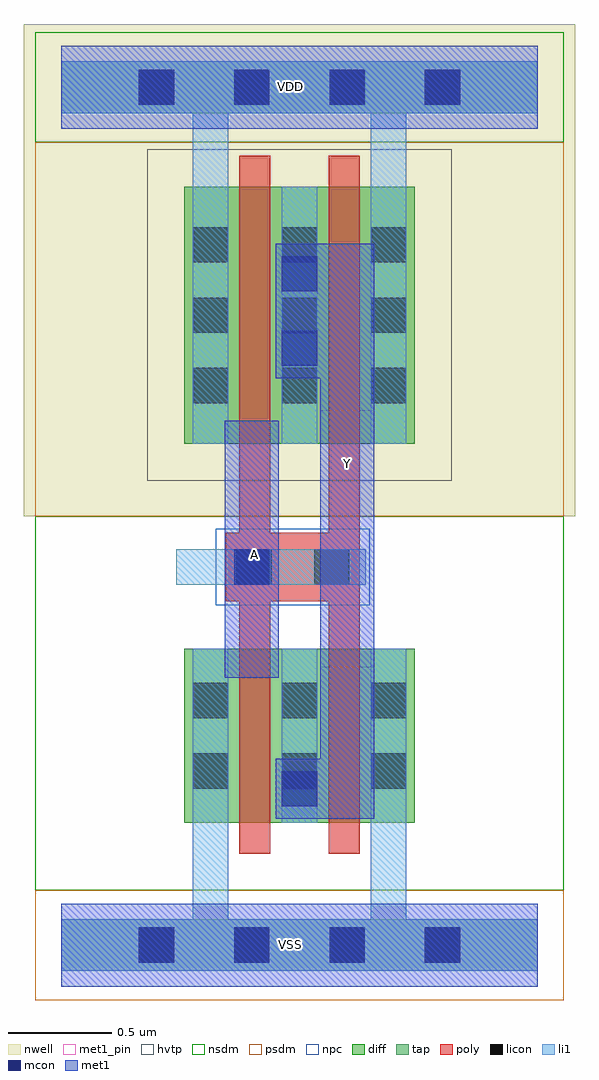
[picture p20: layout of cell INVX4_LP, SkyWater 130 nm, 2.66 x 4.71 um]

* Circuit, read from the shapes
.subckt INVX4_LP A VDD VSS Y
XM1 Y A VSS VSS sky130_fd_pr__nfet_01v8 w=0.84 l=0.15 m=2
XM2 Y A VDD VDD sky130_fd_pr__pfet_01v8_hvt w=1.24 l=0.15 m=2
.ends

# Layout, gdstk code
import gdstk
lib = gdstk.Library(unit=1e-6, precision=1e-09)
def R(c, l, rs):  # rectangles x0, y0, x1, y1
    for r in rs: c.add(gdstk.rectangle(r[:2], r[2:], *l))
def A(c, l, x, y, w, h, nx, ny, dx, dy):  # array of equal rectangles
    R(c, l, [(x+i*dx, y+j*dy, x+i*dx+w, y+j*dy+h) for i in range(nx) for j in range(ny)])
def P(c, l, *ps):  # polygons
    for p in ps: c.add(gdstk.Polygon(p, *l))
nwell = (64, 20)
diff = (65, 20)
tap = (65, 44)
poly = (66, 20)
licon = (66, 44)
li1 = (67, 20)
mcon = (67, 44)
met1_pin = (68, 16)
met1 = (68, 20)
hvtp = (78, 44)
nsdm = (93, 44)
psdm = (94, 20)
npc = (95, 20)

pyl1con_c_cdns_752016907 = lib.new_cell('PYL1CON_C_CDNS_752016907000')
R(pyl1con_c_cdns_752016907, poly, [(-0.135,-0.165,0.135,0.165)])
R(pyl1con_c_cdns_752016907, licon, [(-0.085,-0.085,0.085,0.085)])
R(pyl1con_c_cdns_752016907, npc, [(-0.185,-0.185,0.185,0.185)])

l1m1_c_cdns_752016907001 = lib.new_cell('L1M1_C_CDNS_752016907001')
R(l1m1_c_cdns_752016907001, li1, [(-0.085,-0.165,0.085,0.165)])
R(l1m1_c_cdns_752016907001, mcon, [(-0.085,-0.085,0.085,0.085)])
R(l1m1_c_cdns_752016907001, met1, [(-0.115,-0.145,0.115,0.145)])

l1m1_c_cdns_752016907002 = lib.new_cell('L1M1_C_CDNS_752016907002')
R(l1m1_c_cdns_752016907002, li1, [(-0.085,-0.345,0.085,0.345)])
R(l1m1_c_cdns_752016907002, mcon, [(-0.085,-0.265,0.085,-0.095), (-0.085,0.095,0.085,0.265)])
R(l1m1_c_cdns_752016907002, met1, [(-0.115,-0.325,0.115,0.325)])

l1m1_c_cdns_752016907003 = lib.new_cell('L1M1_C_CDNS_752016907003')
R(l1m1_c_cdns_752016907003, li1, [(-0.165,-0.085,0.165,0.085)])
R(l1m1_c_cdns_752016907003, mcon, [(-0.085,-0.085,0.085,0.085)])
R(l1m1_c_cdns_752016907003, met1, [(-0.115,-0.145,0.115,0.145)])

invx4_lp = lib.new_cell('INVX4_LP')
R(invx4_lp, nwell, [(-0.18,2.07,2.48,4.445)])
R(invx4_lp, diff, [(0.595,0.59,1.705,1.43), (0.595,2.42,1.705,3.66)])
P(invx4_lp, poly, [(1.44,3.81),(1.29,3.81),(1.29,1.99),(1.01,1.99),(1.01,3.81),(0.86,3.81),(0.86,1.99),(0.825,1.99),(0.825,1.66),(0.86,1.66),(0.86,0.44),(1.01,0.44),(1.01,1.66),(1.29,1.66),(1.29,0.44),(1.44,0.44)])
A(invx4_lp, licon, 0.375, -0.085, 0.17, 0.17, 4, 2, 0.46, 4.14)
A(invx4_lp, licon, 0.635, 0.755, 0.17, 0.17, 3, 2, 0.43, 0.34)
A(invx4_lp, licon, 0.635, 2.615, 0.17, 0.17, 3, 3, 0.43, 0.34)
R(invx4_lp, li1, [(1.065,0.59,1.235,1.43), (1.065,2.42,1.235,3.66)])
P(invx4_lp, li1, [(2.3,4.265),(0,4.265),(0,4.015),(0.635,4.015),(0.635,2.42),(0.805,2.42),(0.805,4.015),(1.495,4.015),(1.495,2.42),(1.665,2.42),(1.665,4.015),(2.3,4.015)],
  [(2.3,0.125),(1.665,0.125),(1.665,1.43),(1.495,1.43),(1.495,0.125),(0.805,0.125),(0.805,1.43),(0.635,1.43),(0.635,0.125),(0,0.125),(0,-0.125),(2.3,-0.125)])
A(invx4_lp, mcon, 0.375, -0.085, 0.17, 0.17, 4, 2, 0.46, 4.14)
R(invx4_lp, met1_pin, [(0.79,1.29,1.05,2.53), (1.25,1.34,1.51,2.58)])
R(invx4_lp, hvtp, [(0.415,2.24,1.885,3.84)])
R(invx4_lp, nsdm, [(-0.125,0.265,2.425,2.07), (-0.125,3.875,2.425,4.405)])
R(invx4_lp, psdm, [(-0.125,-0.265,2.425,0.265), (-0.125,2.07,2.425,3.875)])
R(invx4_lp, npc, [(0.745,1.64,1.49,2.01)])
invx4_lp.add(gdstk.FlexPath([(0.555,1.825),(1.47,1.825)], 0.17, ends="flush", simple_path=True, layer=67, datatype=20))  # li1
invx4_lp.add(gdstk.FlexPath([(0,4.14),(2.3,4.14)], 0.25, ends="flush", simple_path=True, layer=65, datatype=44))  # tap
invx4_lp.add(gdstk.FlexPath([(0,0),(2.3,0)], 0.25, ends="flush", simple_path=True, layer=65, datatype=44))  # tap
invx4_lp.add(gdstk.FlexPath([(0,4.14),(2.3,4.14)], 0.4, ends="flush", simple_path=True, layer=68, datatype=20))  # met1
invx4_lp.add(gdstk.FlexPath([(0,0),(2.3,0)], 0.4, ends="flush", simple_path=True, layer=68, datatype=20))  # met1
invx4_lp.add(gdstk.FlexPath([(0.92,1.29),(0.92,2.53)], 0.26, ends="flush", simple_path=True, layer=68, datatype=20))  # met1
invx4_lp.add(gdstk.FlexPath([(1.38,3.385),(1.38,0.61)], 0.26, ends="flush", simple_path=True, layer=68, datatype=20))  # met1
invx4_lp.add(gdstk.FlexPath([(0,4.14),(2.3,4.14)], 0.4, ends="flush", simple_path=True, layer=68, datatype=16))  # met1_pin
invx4_lp.add(gdstk.FlexPath([(0,0),(2.3,0)], 0.4, ends="flush", simple_path=True, layer=68, datatype=16))  # met1_pin
invx4_lp.add(gdstk.Reference(pyl1con_c_cdns_752016907, (0.93,1.825)))
invx4_lp.add(gdstk.Reference(pyl1con_c_cdns_752016907, (1.305,1.825)))
invx4_lp.add(gdstk.Reference(l1m1_c_cdns_752016907001, (1.15,0.755)))
invx4_lp.add(gdstk.Reference(l1m1_c_cdns_752016907002, (1.15,3.06)))
invx4_lp.add(gdstk.Reference(l1m1_c_cdns_752016907003, (0.92,1.825), x_reflection=True))
invx4_lp.add(gdstk.Label('VDD', (1.105,4.145), layer=68, texttype=5))
invx4_lp.add(gdstk.Label('A', (0.935,1.885), layer=68, texttype=5))
invx4_lp.add(gdstk.Label('Y', (1.38,2.325), layer=68, texttype=5))
invx4_lp.add(gdstk.Label('VSS', (1.105,0.005), layer=68, texttype=5))

lib.write_gds('INVX4_LP.gds')
